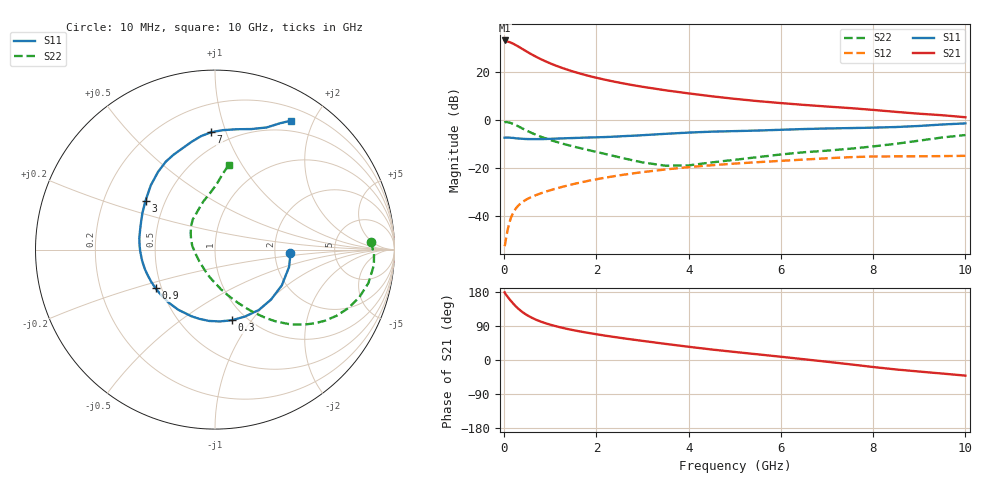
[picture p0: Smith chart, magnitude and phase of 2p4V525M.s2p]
! (c) 2009  Infineon Technologies AG, Munich
! Infineon Technologies  Discrete & RF Semiconductors
! BFP420
! VCE =  4.5 V,  IC =  25 mA
! Common Emitter S-Parameters:  Nov 2009
# GHz  S  MA  R  50
!  f  S11  S21  S12  S22
! GHz  MAG  ANG  MAG  ANG  MAG  ANG  MAG  ANG
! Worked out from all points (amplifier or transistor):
!   46 points, 10 MHz to 10 GHz, reference 50 ohm
!   highest |S21| = 33.0 dB at 10 MHz (marker M1)
!   |S21| within 3 dB of that: start of sweep to 347.6 MHz
!   unconditionally stable (mu >= 1): start of sweep to 30.16 MHz; 1.685 GHz to end of sweep
!   at 300 MHz: K = 0.46, MSG = 33.3 dB, |S12| = -36.0 dB
!   at 1.7 GHz: K = 1.00, MAG = 22.2 dB, |S12| = -26.0 dB
!   at 10 GHz: K = 1.07, MAG = 6.5 dB, |S12| = -15.1 dB
!   lowest NFmin = 1.38 dB at 900 MHz
!   S11 on the Smith chart (normalised r, x): 10 MHz: 2.44, -0.11; 300 MHz: 0.86, -0.81; 900 MHz: 0.46, -0.24; 3 GHz: 0.39, +0.27; 7 GHz: 0.39, +0.89; 10 GHz: 0.36, +1.70
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0.01  0.4202 -2.6  44.77 178.4  0.0023 33.6  0.8693 2.8
0.02  0.4208 -4.8  43.51 175.8  0.0025 35.8  0.8862 -1.6
0.05  0.4239 -13.2  42.86 170.9  0.0038 52.6  0.8895 -5.6
0.1  0.4223 -28.1  41.82 163.0  0.0064 63.7  0.8749 -12.3
0.15  0.4183 -41.8  40.12 155.4  0.0092 64.8  0.8462 -18.4
0.2  0.4157 -54.2  38.12 148.4  0.0116 63.9  0.8103 -23.8
0.25  0.4086 -66.0  35.86 141.9  0.0139 62.4  0.7708 -28.6
0.3  0.4046 -76.7  33.74 136.1  0.0159 61.0  0.7296 -32.9
0.35  0.4011 -86.3  31.6 131.0  0.0176 59.8  0.6896 -36.6
0.45  0.3956 -102.5  27.66 122.0  0.0207 57.9  0.6162 -42.7
0.6  0.3927 -121.5  22.83 111.5  0.0246 56.3  0.5263 -49.6
0.7  0.3924 -131.5  20.28 105.9  0.0269 55.9  0.4786 -53.1
0.9  0.3951 -146.9  16.39 96.9  0.0315 55.6  0.4057 -58.7
1.2  0.4049 -163.5  12.53 86.7  0.0382 55.5  0.329 -66.0
1.7  0.4203 177.4  8.85 74.2  0.05 54.3  0.2476 -76.9
2.2  0.434 163.2  6.756 64.1  0.0619 51.6  0.1916 -88.5
3  0.4737 144.8  4.842 50.5  0.0805 45.5  0.1284 -116.1
3.5  0.5064 134.9  4.091 42.5  0.0915 41.2  0.1095 -142.1
5.5  0.5925 107.9  2.435 14.9  0.1298 23.1  0.1653 145.1
7  0.6542 91.9  1.877 -4.6  0.1564 9.3  0.2255 117.9
8.5  0.7015 73.2  1.45 -25.0  0.1715 -7.6  0.3139 95.3
10  0.835 59.4  1.122 -41.2  0.1758 -18.9  0.4772 80.8
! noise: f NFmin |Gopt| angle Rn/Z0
0.9  1.38  0.22  -154  0.13
1.8  1.65  0.29  -143  0.13
2.4  1.81  0.26  -138  0.17
3  1.83  0.34  -129  0.18
4  1.97  0.45  -112  0.27
5  2.4  0.49  -95  0.44
6  2.85  0.54  -84  0.65
